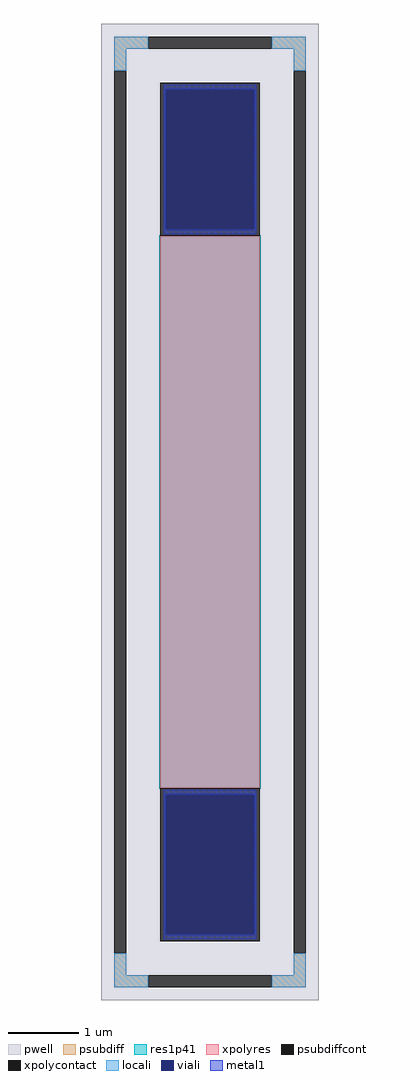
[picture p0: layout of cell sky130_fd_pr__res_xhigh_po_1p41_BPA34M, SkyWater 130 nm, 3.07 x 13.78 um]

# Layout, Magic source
magic
tech sky130A
magscale 1 2
<< pwell >>
rect -307 -1378 307 1378
<< psubdiff >>
rect -271 1308 -175 1342
rect 175 1308 271 1342
rect -271 1246 -237 1308
rect 237 1246 271 1308
rect -271 -1308 -237 -1246
rect 237 -1308 271 -1246
rect -271 -1342 -175 -1308
rect 175 -1342 271 -1308
<< psubdiffcont >>
rect -175 1308 175 1342
rect -271 -1246 -237 1246
rect 237 -1246 271 1246
rect -175 -1342 175 -1308
<< xpolycontact >>
rect -141 780 141 1212
rect -141 -1212 141 -780
<< xpolyres >>
rect -141 -780 141 780
<< locali >>
rect -271 1308 -175 1342
rect 175 1308 271 1342
rect -271 1246 -237 1308
rect 237 1246 271 1308
rect -271 -1308 -237 -1246
rect 237 -1308 271 -1246
rect -271 -1342 -175 -1308
rect 175 -1342 271 -1308
<< viali >>
rect -125 797 125 1194
rect -125 -1194 125 -797
<< metal1 >>
rect -131 1194 131 1206
rect -131 797 -125 1194
rect 125 797 131 1194
rect -131 785 131 797
rect -131 -797 131 -785
rect -131 -1194 -125 -797
rect 125 -1194 131 -797
rect -131 -1206 131 -1194
<< res1p41 >>
rect -143 -782 143 782
<< properties >>
string FIXED_BBOX -254 -1325 254 1325
string gencell sky130_fd_pr__res_xhigh_po_1p41
string library sky130
string parameters w 1.410 l 7.8 m 1 nx 1 wmin 1.410 lmin 0.50 rho 2000 val 11.091k dummy 0 dw 0.0 term 19.188 sterm 0.0 caplen 0 wmax 1.410 guard 1 glc 1 grc 1 gtc 1 gbc 1 compatible {sky130_fd_pr__res_xhigh_po_0p35  sky130_fd_pr__res_xhigh_po_0p69 sky130_fd_pr__res_xhigh_po_1p41  sky130_fd_pr__res_xhigh_po_2p85 sky130_fd_pr__res_xhigh_po_5p73} full_metal 1 n_guard 0 hv_guard 0 vias 1 viagb 0 viagt 0 viagl 0 viagr 0
<< end >>
